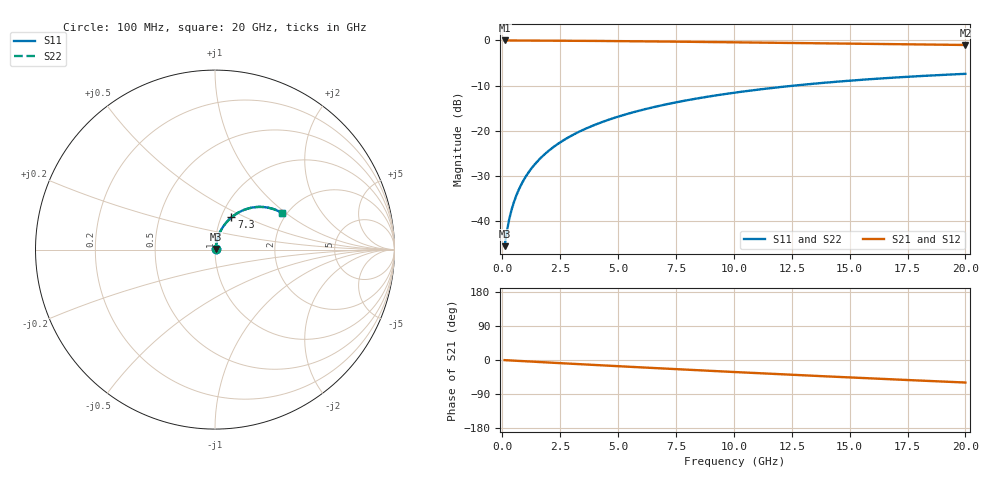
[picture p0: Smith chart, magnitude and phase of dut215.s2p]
! Touchstone file exported from HFSS 2026.1.0
!  File:  C:/ffzhzh/LocalFiles/Ansys_Project_Files/temp_train_TMRDL_215_1782984227_6248.aedt
!  Generated:  05:25:14 PM Jul  2, 2026
!  Design:  TMRDL
!  Project:  temp_train_TMRDL_215_1782984227_6248
! Variables:
!  h_bsmrdl = 2um
!  h_ox = 20um
!  h_rdl = 5um
!  h_sub = 80um
!  h_tmrdl = 5.22um
!  h_tsv = 80um
!  h_via = 3um
!  l_bsmrdl = 300um
!  l_sub = 1387.91um
!  l_tmrdl = 987.91um
!  m_sub = 200um
!  pitch = 35.76um
!  r_tsv = 6um
!  s_tmrdl = 10um
!  w_bsmrdl = 18um
!  w_sub = 500um
!  w_tmrdl = 16.5um
!  x_tsv_center1 = 996.16um
!  x_tsv_center2 = 1314.16um
!  x_tsv_center3 = 2318.57um
!  x_tsv_center4 = 2636.57um
!  x_tsv_center5 = 3640.98um
!  x_tsv_center6 = 3958.98um
# GHz S MA R 50.000000
! Terminal data exported
! Port[1] = TM_RDL1_1_T1
! Port[2] = TM_RDL1_1_T2
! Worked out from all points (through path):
!   200 points, 100 MHz to 20 GHz, reference 50 ohm
!   highest |S21| = -0.04 dB at 100 MHz (marker M1); lowest = -1.0 dB at 20 GHz (marker M2)
!   group delay of S21, straight-line fit = 8.24 ps
!   lowest |S11| = -45.5 dB at 100 MHz (marker M3), VSWR 1.01, Z = 50.4 + j0.332 ohm
!   |S11| at or under -10 dB: start of sweep to 12.62 GHz
!   |S22| runs from -45.5 to -7.4 dB; largest |S21 - S12| = 8.4e-14
!   S11 on the Smith chart (normalised r, x): 100 MHz: 1.01, +0.01; 7.3 GHz: 1.12, +0.42; 20 GHz: 1.89, +0.94
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0.1  0.005326 38.2  0.9958 -0.4  0.9958 -0.4  0.005326 38.2
! Gamma 0 0 0 0
! Port Impedance 50 0 50 0
0.2  0.007833 55.3  0.9956 -0.7  0.9956 -0.7  0.007833 55.3
0.3  0.01059 63.3  0.9954 -1.0  0.9954 -1.0  0.01059 63.3
0.4  0.01341 67.9  0.9952 -1.4  0.9952 -1.4  0.01341 67.9
0.5  0.01626 70.9  0.995 -1.7  0.995 -1.7  0.01626 70.9
0.6  0.01914 72.9  0.9949 -2.0  0.9949 -2.0  0.01914 72.9
0.8  0.02496 75.4  0.9946 -2.7  0.9946 -2.7  0.02496 75.4
1.1  0.03377 77.1  0.9941 -3.7  0.9941 -3.7  0.03377 77.1
1.3  0.03965 77.6  0.9937 -4.4  0.9937 -4.4  0.03965 77.6
1.6  0.04847 77.7  0.993 -5.3  0.993 -5.3  0.04847 77.7
2.1  0.06306 77.2  0.9916 -7.0  0.9916 -7.0  0.06306 77.2
2.7  0.08033 75.9  0.9897 -9.0  0.9897 -9.0  0.08033 75.9
3.5  0.1028 73.9  0.9865 -11.6  0.9865 -11.6  0.1028 73.9
4.2  0.122 71.9  0.9834 -13.8  0.9834 -13.8  0.122 71.9
5  0.1434 69.6  0.9796 -16.3  0.9796 -16.3  0.1434 69.6
6.8  0.1893 64.4  0.9699 -22.0  0.9699 -22.0  0.1893 64.4
7.3  0.2015 63.0  0.9671 -23.5  0.9671 -23.5  0.2015 63.0
8.6  0.2321 59.2  0.9593 -27.5  0.9593 -27.5  0.2322 59.2
10.1  0.2655 55.0  0.9498 -32.0  0.9498 -32.0  0.2655 55.0
13.4  0.3306 45.8  0.9281 -41.5  0.9281 -41.5  0.3306 45.8
16.7  0.3841 37.0  0.9069 -50.7  0.9069 -50.7  0.3842 37.0
20  0.4261 28.5  0.8879 -59.4  0.8879 -59.4  0.4262 28.5
